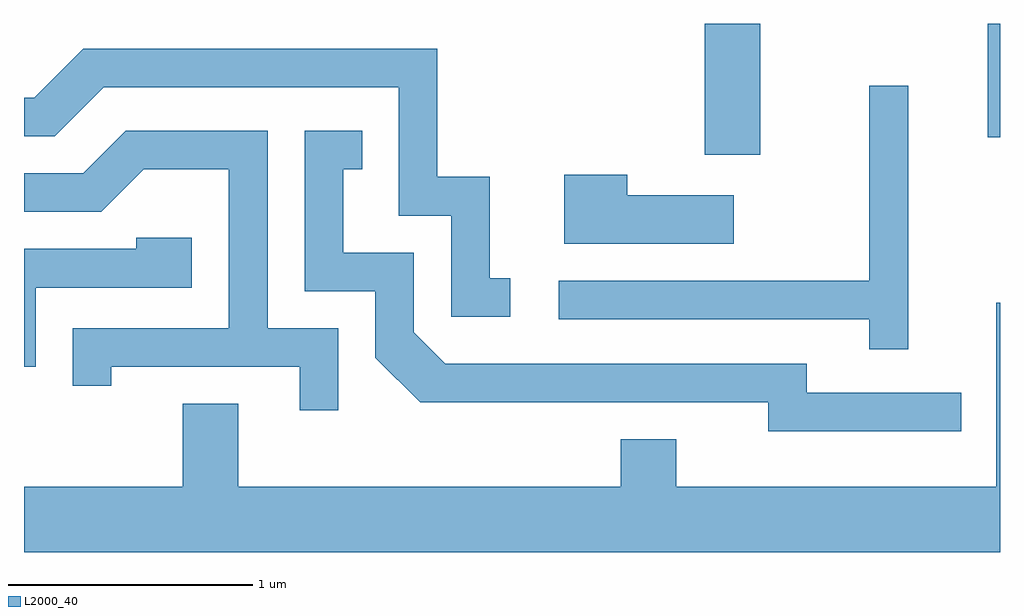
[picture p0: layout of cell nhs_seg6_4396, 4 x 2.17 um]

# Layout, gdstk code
import gdstk
lib = gdstk.Library(unit=1e-6, precision=1e-09)
def R(c, l, rs):  # rectangles x0, y0, x1, y1
    for r in rs: c.add(gdstk.rectangle(r[:2], r[2:], *l))
def P(c, l, *ps):  # polygons
    for p in ps: c.add(gdstk.Polygon(p, *l))
L2000_40 = (2000, 40)

nhs_seg6_4396 = lib.new_cell('nhs_seg6_4396')
R(nhs_seg6_4396, L2000_40, [(322.401,1591.626,322.629,1592.162), (323.561,1591.696,323.611,1592.162)])
P(nhs_seg6_4396, L2000_40, [(321.603,1591.119),(321.519,1591.119),(321.519,1591.534),(321.304,1591.534),(321.304,1592.059),(319.854,1592.059),(319.654,1591.859),(319.611,1591.859),(319.611,1591.701),(319.737,1591.701),(319.937,1591.901),(321.146,1591.901),(321.146,1591.376),(321.361,1591.376),(321.361,1590.961),(321.603,1590.961)],
  [(323.234,1591.908),(323.076,1591.908),(323.076,1591.109),(321.803,1591.109),(321.803,1590.951),(323.076,1590.951),(323.076,1590.828),(323.234,1590.828)],
  [(320.899,1590.914),(320.609,1590.914),(320.609,1591.724),(320.029,1591.724),(319.854,1591.549),(319.611,1591.549),(319.611,1591.391),(319.927,1591.391),(320.102,1591.566),(320.451,1591.566),(320.451,1590.914),(319.811,1590.914),(319.811,1590.678),(319.969,1590.678),(319.969,1590.756),(320.741,1590.756),(320.741,1590.578),(320.899,1590.578)],
  [(323.453,1590.649),(322.819,1590.649),(322.819,1590.769),(321.337,1590.769),(321.209,1590.897),(321.209,1591.224),(320.919,1591.224),(320.919,1591.566),(320.998,1591.566),(320.998,1591.724),(320.761,1591.724),(320.761,1591.066),(321.051,1591.066),(321.051,1590.794),(321.234,1590.611),(322.661,1590.611),(322.661,1590.491),(323.453,1590.491)],
  [(322.519,1591.459),(322.084,1591.459),(322.084,1591.544),(321.826,1591.544),(321.826,1591.261),(322.519,1591.261)],
  [(319.659,1591.081),(320.299,1591.081),(320.299,1591.284),(320.071,1591.284),(320.071,1591.239),(319.611,1591.239),(319.611,1590.756),(319.659,1590.756)],
  [(323.611,1591.018),(323.596,1591.018),(323.596,1590.264),(322.284,1590.264),(322.284,1590.459),(322.056,1590.459),(322.056,1590.264),(320.489,1590.264),(320.489,1590.604),(320.261,1590.604),(320.261,1590.264),(319.611,1590.264),(319.611,1589.996),(323.611,1589.996)])

lib.write_gds('nhs_seg6_4396.gds')
